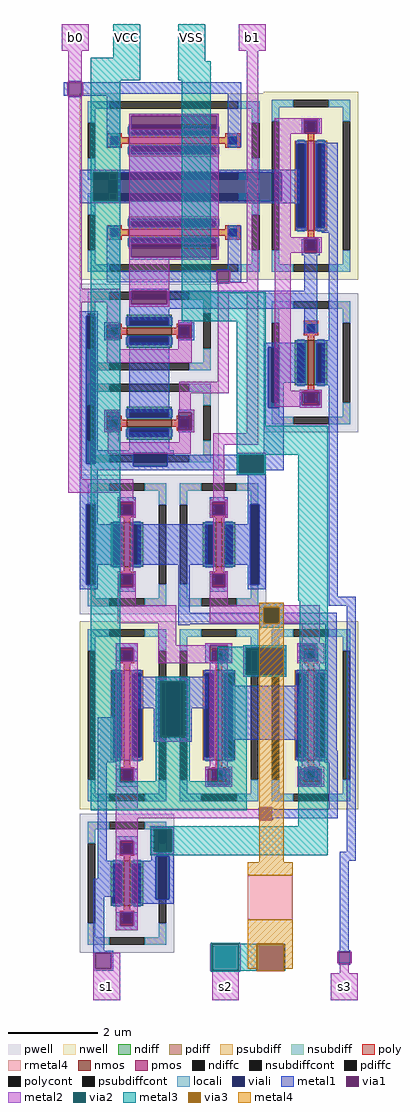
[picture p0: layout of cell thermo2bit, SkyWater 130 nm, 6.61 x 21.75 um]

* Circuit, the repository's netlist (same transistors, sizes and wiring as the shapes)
** sch_path: /home/anton/projects/tt08-vga-fun/xschem/thermo2bit.sch
.subckt thermo2bit VCC VSS s3 b1 s2 s1 b0
*.PININFO b1:I s2:O b0:I s3:O VCC:B VSS:B s1:O
XMA1 net1 b0 VCC VCC sky130_fd_pr__pfet_01v8 L=0.15 W=2 nf=1 m=1
XMA3 net1 b0 net2 VSS sky130_fd_pr__nfet_01v8 L=0.15 W=1 nf=1 m=1
XMA2 net1 b1 VCC VCC sky130_fd_pr__pfet_01v8 L=0.15 W=2 nf=1 m=1
XMA4 net2 b1 VSS VSS sky130_fd_pr__nfet_01v8 L=0.15 W=1 nf=1 m=1
XMA5 s3 net1 VCC VCC sky130_fd_pr__pfet_01v8 L=0.15 W=2 nf=1 m=1
XMA6 s3 net1 VSS VSS sky130_fd_pr__nfet_01v8 L=0.15 W=1 nf=1 m=1
XMO5 s1 net3 VCC VCC sky130_fd_pr__pfet_01v8 L=0.15 W=2 nf=1 m=1
XMO6 s1 net3 VSS VSS sky130_fd_pr__nfet_01v8 L=0.15 W=1 nf=1 m=1
XMO1 net4 b0 VCC VCC sky130_fd_pr__pfet_01v8 L=0.15 W=2 nf=1 m=1
XMO2 net3 b1 net4 VCC sky130_fd_pr__pfet_01v8 L=0.15 W=2 nf=1 m=1
XMO3 net3 b0 VSS VSS sky130_fd_pr__nfet_01v8 L=0.15 W=1 nf=1 m=1
XMO4 net3 b1 VSS VSS sky130_fd_pr__nfet_01v8 L=0.15 W=1 nf=1 m=1
R1 b1 s2 sky130_fd_pr__res_generic_m4 W=1 L=1 m=1
.ends
.end

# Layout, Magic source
magic
tech sky130A
magscale 1 2
<< pwell >>
rect 1880 -1960 1930 -1760
<< viali >>
rect 930 -1140 1700 -1010
rect 830 -2310 870 -1650
rect 1640 -2060 1690 -1790
rect 1040 -2320 1190 -2260
rect 830 -2850 870 -2490
rect 1560 -2850 1600 -2490
rect 1550 -3240 1700 -3140
rect 1150 -3530 1280 -3280
rect 1140 -4250 1200 -4060
<< metal1 >>
rect 750 -610 810 -604
rect 730 -670 750 -610
rect 810 -660 1520 -610
rect 810 -670 980 -660
rect 750 -676 810 -670
rect 920 -900 980 -670
rect 1020 -760 1420 -750
rect 1020 -820 1030 -760
rect 1410 -820 1420 -760
rect 1020 -830 1420 -820
rect 1460 -900 1520 -660
rect 1790 -780 1870 -770
rect 1790 -840 1800 -780
rect 1860 -840 1870 -780
rect 1020 -1000 1420 -920
rect 800 -1010 1780 -1000
rect 800 -1140 860 -1010
rect 1700 -1140 1780 -1010
rect 800 -1150 1780 -1140
rect 1020 -1230 1420 -1150
rect 920 -1450 980 -1250
rect 1020 -1330 1420 -1320
rect 1020 -1390 1030 -1330
rect 1410 -1390 1420 -1330
rect 1020 -1400 1420 -1390
rect 1460 -1443 1520 -1250
rect 1880 -1280 1950 -880
rect 1790 -1370 1800 -1310
rect 1860 -1370 1870 -1310
rect 1790 -1380 1870 -1370
rect 1414 -1449 1520 -1443
rect 920 -1500 1414 -1450
rect 1466 -1500 1520 -1449
rect 1414 -1507 1466 -1501
rect 1020 -1540 1200 -1530
rect 1800 -1540 1860 -1380
rect 1020 -1600 1030 -1540
rect 1190 -1600 1860 -1540
rect 1020 -1620 1860 -1600
rect 800 -1650 880 -1630
rect 800 -2310 830 -1650
rect 870 -2250 880 -1650
rect 1020 -1670 1200 -1620
rect 910 -1690 980 -1680
rect 910 -1750 920 -1690
rect 910 -1760 980 -1750
rect 1240 -1690 1310 -1680
rect 1300 -1750 1310 -1690
rect 1800 -1720 1860 -1620
rect 1240 -1760 1310 -1750
rect 1910 -1760 1950 -1280
rect 910 -2080 980 -2070
rect 1020 -2080 1200 -1770
rect 1620 -1790 1800 -1770
rect 1620 -2060 1640 -1790
rect 1690 -1950 1800 -1790
rect 1690 -2060 1710 -1950
rect 1880 -1960 1950 -1760
rect 1780 -2050 1790 -1990
rect 1870 -2050 1880 -1990
rect 1780 -2060 1880 -2050
rect 1240 -2080 1310 -2070
rect 910 -2160 920 -2080
rect 910 -2170 980 -2160
rect 1300 -2160 1310 -2080
rect 1240 -2170 1310 -2160
rect 1020 -2250 1200 -2170
rect 870 -2260 1220 -2250
rect 1620 -2260 1710 -2060
rect 870 -2310 1040 -2260
rect 800 -2320 1040 -2310
rect 1190 -2270 1220 -2260
rect 1500 -2270 1710 -2260
rect 1190 -2320 1510 -2270
rect 800 -2340 1510 -2320
rect 800 -2490 880 -2340
rect 1500 -2350 1510 -2340
rect 1620 -2340 1710 -2270
rect 1620 -2350 1630 -2340
rect 1500 -2360 1630 -2350
rect 800 -2850 830 -2490
rect 870 -2580 880 -2490
rect 970 -2480 1050 -2460
rect 970 -2540 980 -2480
rect 1040 -2540 1050 -2480
rect 1380 -2480 1460 -2460
rect 1380 -2540 1390 -2480
rect 1450 -2540 1460 -2480
rect 1550 -2490 1630 -2360
rect 1550 -2580 1560 -2490
rect 870 -2760 980 -2580
rect 1060 -2760 1370 -2580
rect 1450 -2760 1560 -2580
rect 870 -2850 880 -2760
rect 800 -2870 880 -2850
rect 970 -2860 980 -2800
rect 1040 -2860 1050 -2800
rect 970 -2880 1050 -2860
rect 1240 -2975 1290 -2760
rect 1380 -2860 1390 -2800
rect 1450 -2860 1460 -2800
rect 1380 -2880 1460 -2860
rect 1550 -2850 1560 -2760
rect 1600 -2850 1630 -2490
rect 1550 -2870 1630 -2850
rect 1910 -2902 1950 -1960
rect 1910 -2942 2030 -2902
rect 1240 -3025 1945 -2975
rect 1240 -3030 1290 -3025
rect 960 -3130 1060 -3110
rect 960 -3190 980 -3130
rect 1040 -3190 1060 -3130
rect 1360 -3120 1480 -3110
rect 1770 -3120 1860 -3110
rect 1360 -3190 1380 -3120
rect 1460 -3190 1480 -3120
rect 1360 -3200 1480 -3190
rect 1530 -3130 1720 -3120
rect 1530 -3250 1540 -3130
rect 1710 -3250 1720 -3130
rect 1770 -3180 1780 -3120
rect 1850 -3180 1860 -3120
rect 1770 -3190 1860 -3180
rect 1530 -3260 1720 -3250
rect 1050 -3280 1370 -3260
rect 1050 -3400 1150 -3280
rect 880 -3560 980 -3440
rect 1130 -3530 1150 -3400
rect 1280 -3400 1370 -3280
rect 1280 -3530 1300 -3400
rect 1130 -3550 1300 -3530
rect 1460 -3540 1790 -3300
rect 880 -3640 960 -3560
rect 1895 -3590 1945 -3025
rect 1895 -3620 1950 -3590
rect 1880 -3630 1950 -3620
rect 1890 -3640 1950 -3630
rect 880 -4080 920 -3640
rect 1820 -3670 1860 -3660
rect 960 -3730 980 -3670
rect 1040 -3730 1060 -3670
rect 960 -3750 1060 -3730
rect 1360 -3740 1370 -3670
rect 1470 -3740 1480 -3670
rect 1360 -3750 1480 -3740
rect 1770 -3740 1780 -3670
rect 1870 -3740 1880 -3670
rect 1770 -3750 1880 -3740
rect 1598 -3896 1604 -3844
rect 1656 -3850 1662 -3844
rect 1910 -3850 1950 -3640
rect 1656 -3890 1950 -3850
rect 1656 -3896 1662 -3890
rect 1120 -3940 1220 -3930
rect 960 -3990 1060 -3970
rect 960 -4050 980 -3990
rect 1040 -4050 1060 -3990
rect 1120 -4040 1130 -3940
rect 1210 -4040 1220 -3940
rect 1990 -4040 2030 -2942
rect 1120 -4060 1220 -4040
rect 1120 -4080 1140 -4060
rect 880 -4160 960 -4080
rect 860 -4240 960 -4160
rect 860 -4480 910 -4240
rect 1060 -4250 1140 -4080
rect 1200 -4250 1220 -4060
rect 1060 -4270 1220 -4250
rect 1960 -4080 2030 -4040
rect 960 -4370 980 -4310
rect 1040 -4370 1060 -4310
rect 960 -4390 1060 -4370
rect 1960 -4478 2000 -4080
rect 860 -4490 950 -4480
rect 860 -4560 870 -4490
rect 940 -4560 950 -4490
rect 1954 -4484 2006 -4478
rect 1954 -4542 2006 -4536
rect 860 -4570 950 -4560
<< via1 >>
rect 750 -670 810 -610
rect 1030 -820 1410 -760
rect 1800 -840 1860 -780
rect 860 -1140 930 -1010
rect 930 -1140 970 -1010
rect 1030 -1390 1410 -1330
rect 1800 -1370 1860 -1310
rect 1414 -1501 1466 -1449
rect 1030 -1600 1190 -1540
rect 920 -1750 980 -1690
rect 1240 -1750 1300 -1690
rect 1790 -2050 1870 -1990
rect 920 -2160 980 -2080
rect 1240 -2160 1300 -2080
rect 1510 -2350 1620 -2270
rect 980 -2540 1040 -2480
rect 1390 -2540 1450 -2480
rect 980 -2860 1040 -2800
rect 1390 -2860 1450 -2800
rect 980 -3190 1040 -3130
rect 1380 -3190 1460 -3120
rect 1540 -3140 1710 -3130
rect 1540 -3240 1550 -3140
rect 1550 -3240 1700 -3140
rect 1700 -3240 1710 -3140
rect 1540 -3250 1710 -3240
rect 1780 -3180 1850 -3120
rect 1160 -3530 1270 -3280
rect 980 -3730 1040 -3670
rect 1370 -3740 1470 -3670
rect 1780 -3740 1870 -3670
rect 1604 -3896 1656 -3844
rect 980 -4050 1040 -3990
rect 1130 -4040 1210 -3940
rect 980 -4370 1040 -4310
rect 870 -4560 940 -4490
rect 1954 -4536 2006 -4484
<< metal2 >>
rect 720 -470 840 -350
rect 1510 -470 1630 -350
rect 750 -610 810 -470
rect 744 -670 750 -610
rect 810 -670 816 -610
rect 750 -1530 810 -670
rect 1020 -760 1420 -750
rect 1020 -820 1030 -760
rect 1410 -820 1420 -760
rect 850 -1010 980 -1000
rect 850 -1140 860 -1010
rect 970 -1140 980 -1010
rect 850 -1150 980 -1140
rect 1020 -1330 1420 -820
rect 1020 -1390 1030 -1330
rect 1410 -1390 1420 -1330
rect 1020 -1400 1420 -1390
rect 750 -1590 980 -1530
rect 750 -2380 810 -1590
rect 920 -1690 980 -1590
rect 1020 -1540 1200 -1400
rect 1408 -1501 1414 -1449
rect 1466 -1501 1472 -1449
rect 1545 -1501 1595 -470
rect 1020 -1600 1030 -1540
rect 1190 -1600 1200 -1540
rect 1020 -1610 1200 -1600
rect 1415 -1551 1595 -1501
rect 920 -1800 980 -1750
rect 1240 -1690 1300 -1670
rect 1240 -1800 1300 -1750
rect 920 -1860 1300 -1800
rect 1415 -1945 1465 -1551
rect 1245 -1995 1465 -1945
rect 1245 -2070 1295 -1995
rect 910 -2080 980 -2070
rect 910 -2160 920 -2080
rect 910 -2170 980 -2160
rect 1240 -2080 1310 -2070
rect 1300 -2160 1310 -2080
rect 1240 -2170 1310 -2160
rect 925 -2215 975 -2170
rect 1245 -2215 1295 -2170
rect 1545 -2175 1595 -1551
rect 1670 -780 1880 -770
rect 1670 -840 1800 -780
rect 1860 -840 1880 -780
rect 1670 -1300 1740 -840
rect 1670 -1310 1880 -1300
rect 1670 -1370 1800 -1310
rect 1860 -1370 1880 -1310
rect 1670 -1985 1740 -1370
rect 1780 -1985 1880 -1980
rect 1670 -1990 1880 -1985
rect 1670 -2050 1790 -1990
rect 1870 -2050 1880 -1990
rect 1670 -2055 1880 -2050
rect 1780 -2060 1880 -2055
rect 925 -2265 1295 -2215
rect 1395 -2225 1595 -2175
rect 750 -2440 1040 -2380
rect 980 -2470 1040 -2440
rect 1395 -2470 1445 -2225
rect 1500 -2270 1630 -2260
rect 1500 -2350 1510 -2270
rect 1620 -2350 1630 -2270
rect 1500 -2360 1630 -2350
rect 970 -2480 1050 -2470
rect 970 -2540 980 -2480
rect 1040 -2540 1050 -2480
rect 970 -2550 1050 -2540
rect 1380 -2480 1460 -2470
rect 1380 -2540 1390 -2480
rect 1450 -2540 1460 -2480
rect 1380 -2550 1460 -2540
rect 980 -2790 1040 -2550
rect 1395 -2790 1445 -2550
rect 970 -2800 1050 -2790
rect 970 -2860 980 -2800
rect 1040 -2860 1050 -2800
rect 970 -2940 1050 -2860
rect 1380 -2800 1460 -2790
rect 1380 -2860 1390 -2800
rect 1450 -2860 1460 -2800
rect 1380 -2940 1460 -2860
rect 1600 -2940 1710 -2930
rect 970 -3020 1230 -2940
rect 1380 -2950 1870 -2940
rect 1380 -3020 1620 -2950
rect 1690 -3020 1870 -2950
rect 960 -3130 1060 -3110
rect 960 -3190 980 -3130
rect 1040 -3190 1060 -3130
rect 960 -3670 1060 -3190
rect 1150 -3120 1230 -3020
rect 1600 -3040 1710 -3020
rect 1790 -3110 1870 -3020
rect 1360 -3120 1480 -3110
rect 1770 -3120 1890 -3110
rect 1150 -3190 1380 -3120
rect 1460 -3190 1480 -3120
rect 1150 -3200 1480 -3190
rect 1530 -3130 1720 -3120
rect 1140 -3280 1290 -3260
rect 1140 -3530 1160 -3280
rect 1270 -3530 1290 -3280
rect 1140 -3550 1290 -3530
rect 1380 -3660 1460 -3200
rect 1530 -3250 1540 -3130
rect 1710 -3250 1720 -3130
rect 1770 -3180 1780 -3120
rect 1850 -3180 1890 -3120
rect 1770 -3200 1890 -3180
rect 1530 -3260 1720 -3250
rect 1790 -3660 1870 -3200
rect 960 -3730 980 -3670
rect 1040 -3730 1060 -3670
rect 960 -3850 1060 -3730
rect 1360 -3670 1480 -3660
rect 1360 -3740 1370 -3670
rect 1470 -3740 1480 -3670
rect 1360 -3750 1480 -3740
rect 1770 -3670 1890 -3660
rect 1770 -3740 1780 -3670
rect 1870 -3740 1890 -3670
rect 1770 -3750 1890 -3740
rect 1604 -3844 1656 -3838
rect 960 -3890 1604 -3850
rect 960 -3990 1060 -3890
rect 1604 -3902 1656 -3896
rect 960 -4050 980 -3990
rect 1040 -4050 1060 -3990
rect 1120 -3940 1220 -3930
rect 1120 -4040 1130 -3940
rect 1210 -4040 1220 -3940
rect 1120 -4050 1220 -4040
rect 960 -4310 1060 -4050
rect 960 -4370 980 -4310
rect 1040 -4370 1060 -4310
rect 960 -4390 1060 -4370
rect 860 -4560 870 -4490
rect 940 -4560 980 -4490
rect 860 -4700 980 -4560
rect 1381 -4570 1390 -4450
rect 1510 -4570 1519 -4450
rect 1948 -4536 1954 -4484
rect 2006 -4536 2012 -4484
rect 1390 -4700 1510 -4570
rect 1960 -4580 2000 -4536
rect 1920 -4700 2040 -4580
<< via2 >>
rect 860 -1140 970 -1010
rect 1510 -2350 1620 -2270
rect 1620 -3020 1690 -2950
rect 1160 -3530 1270 -3280
rect 1540 -3250 1710 -3130
rect 1130 -4040 1210 -3940
rect 1390 -4570 1510 -4450
<< metal3 >>
rect 950 -500 1070 -350
rect 850 -600 1070 -500
rect 1240 -515 1360 -350
rect 1240 -600 1385 -515
rect 850 -1010 980 -600
rect 850 -1140 860 -1010
rect 970 -1140 980 -1010
rect 850 -3725 980 -1140
rect 1255 -1545 1385 -600
rect 1255 -1675 1630 -1545
rect 1500 -2140 1630 -1675
rect 1500 -2270 1905 -2140
rect 1500 -2350 1510 -2270
rect 1620 -2350 1630 -2270
rect 1500 -2360 1630 -2350
rect 1775 -2920 1905 -2270
rect 1600 -2950 1710 -2930
rect 1600 -3020 1620 -2950
rect 1690 -3020 1710 -2950
rect 1600 -3040 1710 -3020
rect 1530 -3125 1720 -3120
rect 1415 -3130 1720 -3125
rect 1415 -3250 1540 -3130
rect 1710 -3250 1720 -3130
rect 1415 -3260 1720 -3250
rect 1140 -3280 1290 -3260
rect 1140 -3530 1160 -3280
rect 1270 -3530 1290 -3280
rect 1140 -3725 1290 -3530
rect 1415 -3725 1545 -3260
rect 1780 -3340 1905 -2920
rect 850 -3855 1545 -3725
rect 1775 -3925 1905 -3340
rect 1115 -3940 1905 -3925
rect 1115 -4040 1130 -3940
rect 1210 -4040 1905 -3940
rect 1115 -4055 1905 -4040
rect 1385 -4450 1515 -4445
rect 1385 -4570 1390 -4450
rect 1510 -4570 1590 -4450
rect 1710 -4570 1716 -4450
rect 1385 -4575 1515 -4570
<< via3 >>
rect 1620 -3020 1690 -2950
rect 1590 -4570 1710 -4450
<< metal4 >>
rect 1600 -2950 1710 -2930
rect 1600 -3020 1620 -2950
rect 1690 -3020 1710 -2950
rect 1600 -4120 1710 -3020
rect 1590 -4390 1710 -4360
rect 1550 -4450 1750 -4390
rect 1550 -4560 1590 -4450
rect 1589 -4570 1590 -4560
rect 1710 -4560 1750 -4450
rect 1710 -4570 1711 -4560
rect 1589 -4571 1711 -4570
use sky130_fd_pr__res_generic_m4_VRQADB  R1 thermo2bit__devices
transform 1 0 1650 0 1 -4243
box -100 -157 100 157
use sky130_fd_pr__pfet_01v8_XLV5ZZ  XMA1 thermo2bit__devices
transform 0 1 1219 -1 0 -869
box -211 -419 211 419
use sky130_fd_pr__pfet_01v8_XLV5ZZ  XMA2
transform 0 1 1219 -1 0 -1279
box -211 -419 211 419
use sky130_fd_pr__nfet_01v8_V8CAV6  XMA3 thermo2bit__devices
transform 0 1 1110 -1 0 -1719
box -211 -310 211 310
use sky130_fd_pr__nfet_01v8_V8CAV6  XMA4
transform 0 1 1110 -1 0 -2129
box -211 -310 211 310
use sky130_fd_pr__pfet_01v8_XLV5ZZ  XMA5
transform 1 0 1831 0 1 -1071
box -211 -419 211 419
use sky130_fd_pr__nfet_01v8_V8CAV6  XMA6
transform 1 0 1831 0 1 -1860
box -211 -310 211 310
use sky130_fd_pr__pfet_01v8_XLV5ZZ  XMO1
transform -1 0 1421 0 -1 -3431
box -211 -419 211 419
use sky130_fd_pr__pfet_01v8_XLV5ZZ  XMO2
transform 1 0 1831 0 1 -3431
box -211 -419 211 419
use sky130_fd_pr__nfet_01v8_V8CAV6  XMO3
transform 1 0 1011 0 1 -2670
box -211 -310 211 310
use sky130_fd_pr__nfet_01v8_V8CAV6  XMO4
transform 1 0 1421 0 1 -2670
box -211 -310 211 310
use sky130_fd_pr__pfet_01v8_XLV5ZZ  XMO5
transform 1 0 1011 0 1 -3431
box -211 -419 211 419
use sky130_fd_pr__nfet_01v8_V8CAV6  XMO6
transform 1 0 1011 0 1 -4180
box -211 -310 211 310
<< labels >>
flabel metal2 860 -4700 980 -4580 0 FreeSans 640 0 0 0 s1
port 12 nsew
flabel metal2 1920 -4700 2040 -4580 0 FreeSans 640 0 0 0 s3
port 9 nsew
flabel metal2 1390 -4700 1510 -4580 0 FreeSans 640 0 0 0 s2
port 13 nsew
flabel metal2 720 -470 840 -350 0 FreeSans 640 0 0 0 b0
port 7 nsew
flabel metal2 1510 -470 1630 -350 0 FreeSans 640 0 0 0 b1
port 8 nsew
flabel metal3 950 -470 1070 -350 0 FreeSans 640 0 0 0 VCC
port 10 nsew
flabel metal3 1240 -470 1360 -350 0 FreeSans 640 0 0 0 VSS
port 11 nsew
<< end >>

# cell sky130_fd_pr__res_generic_m4_VRQADB: kit device sky130_fd_pr__res_generic_m4, w 1.0 l 1.0 m 1 nx 1 wmin 0.30 lmin 0.30 class resistor rho 0.047 val 47.0m dummy 0 dw 0.0 term 0.0 roverlap 0

# cell sky130_fd_pr__pfet_01v8_XLV5ZZ: kit device sky130_fd_pr__pfet_01v8, w 2.0 l 0.15 m 1 nf 1 diffcov 100 polycov 100 guard 1 glc 1 grc 1 gtc 1 gbc 1 tbcov 100 rlcov 100 topc 1 botc 1 poverlap 0 doverlap 1 lmin 0.15 wmin 0.42 class mosfet compatible {sky130_fd_pr__pfet_01v8 sky130_fd_pr__pfet_01v8_lvt sky130_fd_pr__pfet_01v8_hvt sky130_fd_pr__pfet_g5v0d10v5} full_metal 1 viasrc 100 viadrn 100 viagate 100 viagb 0 viagr 0 viagl 0 viagt 0

# cell sky130_fd_pr__nfet_01v8_V8CAV6: kit device sky130_fd_pr__nfet_01v8, w 1.0 l 0.15 m 1 nf 1 diffcov 100 polycov 100 guard 1 glc 1 grc 1 gtc 1 gbc 1 tbcov 100 rlcov 100 topc 1 botc 1 poverlap 0 doverlap 1 lmin 0.15 wmin 0.42 class mosfet compatible {sky130_fd_pr__nfet_01v8 sky130_fd_pr__nfet_01v8_lvt sky130_fd_bs_flash__special_sonosfet_star sky130_fd_pr__nfet_g5v0d10v5 sky130_fd_pr__nfet_05v0_nvt sky130_fd_pr__nfet_03v3_nvt} full_metal 1 viasrc 100 viadrn 100 viagate 100 viagb 0 viagr 0 viagl 0 viagt 0
